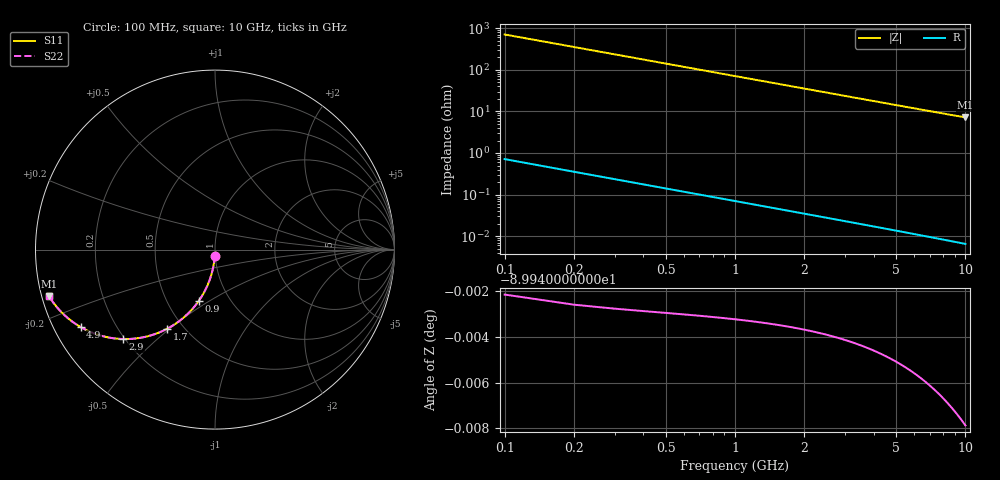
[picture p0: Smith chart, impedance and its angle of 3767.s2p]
# Hz S RI R 50.00
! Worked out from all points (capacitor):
!   100 points, 100 MHz to 10 GHz, reference 50 ohm
!   read as one part in shunt: C = 2.25 pF near 100 MHz
!   lowest |Z| = 7.18 ohm at 10 GHz (marker M1)
!   S11 on the Smith chart (normalised r, x): 100 MHz: 1.00, -0.07; 900 MHz: 0.71, -0.45; 1.7 GHz: 0.41, -0.49; 2.9 GHz: 0.19, -0.39; 4.9 GHz: 0.08, -0.27; 10 GHz: 0.02, -0.14
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1e8  -0.00125 -0.0352  0.9987 -0.0353  0.9987 -0.0353  -0.00125 -0.0352
2e8  -0.005 -0.0701  0.9949 -0.0703  0.9949 -0.0703  -0.005 -0.0701
3e8  -0.0112 -0.1045  0.9888 -0.1048  0.9888 -0.1048  -0.0112 -0.1045
4e8  -0.0196 -0.1382  0.9803 -0.1385  0.9803 -0.1385  -0.0196 -0.1382
5e8  -0.0303 -0.1709  0.9696 -0.1712  0.9696 -0.1712  -0.0303 -0.1709
6e8  -0.043 -0.2023  0.9569 -0.2027  0.9569 -0.2027  -0.043 -0.2023
7e8  -0.0577 -0.2324  0.9423 -0.2329  0.9423 -0.2329  -0.0577 -0.2324
9e8  -0.0918 -0.288  0.9082 -0.2886  0.9082 -0.2886  -0.0918 -0.288
1.1e9  -0.1311 -0.3367  0.8688 -0.3374  0.8688 -0.3374  -0.1311 -0.3367
1.3e9  -0.174 -0.3782  0.826 -0.3791  0.826 -0.3791  -0.174 -0.3782
1.7e9  -0.2647 -0.4401  0.7353 -0.4413  0.7353 -0.4413  -0.2647 -0.4401
1.8e9  -0.2875 -0.4514  0.7125 -0.4527  0.7125 -0.4527  -0.2875 -0.4514
2.3e9  -0.3969 -0.4879  0.603 -0.4896  0.603 -0.4896  -0.3969 -0.4879
2.9e9  -0.5111 -0.4983  0.4888 -0.5004  0.4888 -0.5004  -0.5111 -0.4983
3.4e9  -0.5895 -0.4902  0.4104 -0.4926  0.4104 -0.4926  -0.5895 -0.4902
4.1e9  -0.6761 -0.466  0.3239 -0.4689  0.3239 -0.4689  -0.6761 -0.466
4.9e9  -0.7487 -0.4315  0.2513 -0.435  0.2513 -0.435  -0.7487 -0.4315
5.1e9  -0.7634 -0.4226  0.2366 -0.4263  0.2366 -0.4263  -0.7634 -0.4226
5.9e9  -0.8118 -0.3882  0.1881 -0.3924  0.1881 -0.3924  -0.8118 -0.3882
6.7e9  -0.8476 -0.3565  0.1523 -0.3613  0.1523 -0.3613  -0.8476 -0.3565
8.4e9  -0.8973 -0.3  0.1027 -0.3061  0.1027 -0.3061  -0.8973 -0.3
1e10  -0.9252 -0.2588  0.0747 -0.2661  0.0747 -0.2661  -0.9252 -0.2588
